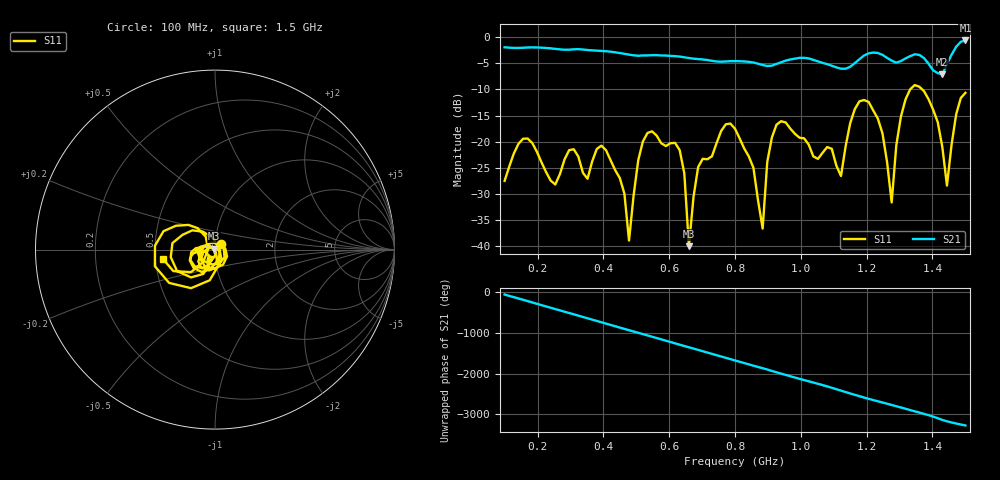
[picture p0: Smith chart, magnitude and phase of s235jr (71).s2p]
! NanoVNA-App
! Date: 2025-09-25 15:04:43
! Start: 100MHz Stop: 1,5GHz Points: 101
! S-Parameter data: F S11 S21 S12 S22
# Hz S RI R 50
!  Frequency  S11_Real  S11_Imag  S21_Real  S21_Imag  S12_Real  S12_Imag  S22_Real  S22_Imag
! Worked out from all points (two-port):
!   101 points, 100 MHz to 1.5 GHz, reference 50 ohm
!   highest |S21| = -0.66 dB at 1.5 GHz (marker M1); lowest = -7.1 dB at 1.43 GHz (marker M2)
!   |S21| within 3 dB of the highest: start of sweep to 617.6 MHz; 1.19 GHz to 1.254 GHz (64.41 MHz wide, 5.27 % of centre) (the widest 2 of 4)
!   lowest |S11| = -40.0 dB at 660 MHz (marker M3), VSWR 1.02, Z = 49.2 + j0.602 ohm
!   |S11| at or under -10 dB: start of sweep to 1.332 GHz; 1.369 GHz to end of sweep
!   S12 and S22 are empty: the file has one direction only
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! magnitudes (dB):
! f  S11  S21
! 100 MHz  -27.5  -2.0
! 156 MHz  -19.4  -2.1
! 338 MHz  -26.0  -2.4
! 408 MHz  -21.6  -2.7
! 478 MHz  -38.9  -3.4
! 520 MHz  -20.0  -3.5
! 576 MHz  -20.3  -3.5
! 632 MHz  -21.6  -3.7
! 660 MHz  -40.0  -4.0
! 688 MHz  -24.8  -4.2
! 800 MHz  -17.5  -4.6
! 884 MHz  -36.6  -5.3
! 898 MHz  -23.9  -5.5
! 926 MHz  -16.8  -5.1
! 1.038 GHz  -22.8  -4.4
! 1.122 GHz  -26.6  -6.1
! 1.206 GHz  -12.4  -3.1
! 1.276 GHz  -31.6  -4.5
! 1.332 GHz  -10.0  -3.7
! 1.43 GHz  -21.1  -7.1
! 1.444 GHz  -28.4  -5.1
! 1.5 GHz  -10.7  -0.7
